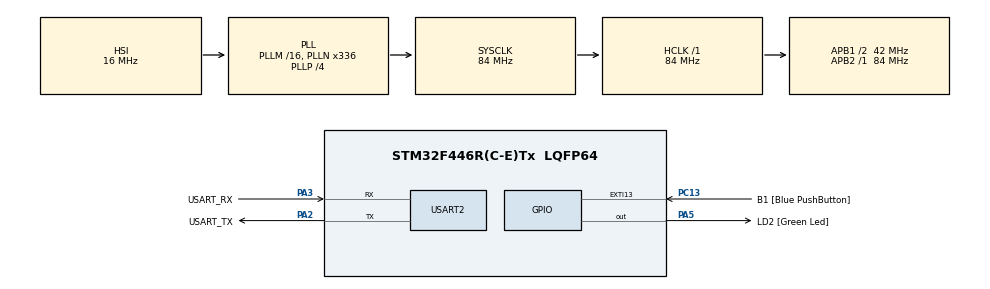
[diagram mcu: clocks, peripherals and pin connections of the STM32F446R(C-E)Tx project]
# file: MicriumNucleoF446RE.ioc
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Mcu.Family=STM32F4
Mcu.Name=STM32F446R(C-E)Tx
Mcu.Package=LQFP64
NVIC.PriorityGroup=NVIC_PRIORITYGROUP_0
PA13.GPIO_Label=TMS
PA13.Mode=Serial_Wire
PA13.Signal=SYS_JTMS-SWDIO
PA14.GPIO_Label=TCK
PA14.Mode=Serial_Wire
PA14.Signal=SYS_JTCK-SWCLK
PA2.GPIO_Label=USART_TX
PA2.Mode=Asynchronous
PA2.Signal=USART2_TX
PA3.GPIO_Label=USART_RX
PA3.Mode=Asynchronous
PA3.Signal=USART2_RX
PA5.GPIO_Label=LD2 [Green Led]
PA5.Signal=GPIO_Output
PB3.GPIO_Label=SWO
PB3.Signal=SYS_JTDO-SWO
PC13.GPIO_Label=B1 [Blue PushButton]
PC13.GPIO_ModeDefaultEXTI=GPIO_MODE_IT_FALLING
PC13.Signal=GPXTI13
PC14-OSC32_IN.Mode=LSE-External-Oscillator
PC14-OSC32_IN.Signal=RCC_OSC32_IN
PC15-OSC32_OUT.Mode=LSE-External-Oscillator
PC15-OSC32_OUT.Signal=RCC_OSC32_OUT
PH0-OSC_IN.Mode=HSE-External-Oscillator
PH0-OSC_IN.Signal=RCC_OSC_IN
PH1-OSC_OUT.Mode=HSE-External-Oscillator
PH1-OSC_OUT.Signal=RCC_OSC_OUT
ProjectManager.HeapSize=0x200
ProjectManager.StackSize=0x400
ProjectManager.TargetToolchain=STM32CubeIDE
RCC.48MHZClocksFreq_Value=84000000
RCC.AHBFreq_Value=84000000
RCC.APB1CLKDivider=RCC_HCLK_DIV2
RCC.APB1Freq_Value=42000000
RCC.APB1TimFreq_Value=84000000
RCC.APB2Freq_Value=84000000
RCC.APB2TimFreq_Value=84000000
RCC.CortexFreq_Value=84000000
RCC.FLatency-AdvancedSettings=FLASH_LATENCY_2
RCC.HCLKFreq_Value=84000000
RCC.HSE_VALUE=8000000
RCC.HSI_VALUE=16000000
RCC.PLLN=336
RCC.PLLP=RCC_PLLP_DIV4
RCC.SYSCLKFreq_VALUE=84000000
RCC.SYSCLKSource=RCC_SYSCLKSOURCE_PLLCLK
RCC.USBFreq_Value=168000000
RCC.VCOOutputFreq_Value=336000000
USART2.VirtualMode=VM_ASYNC
board=NUCLEO-F446RE

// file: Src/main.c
/* USER CODE BEGIN Header */
/**
  ******************************************************************************
  * @file           : main.c
  * @brief          : Main program body
  ******************************************************************************
  * @attention
  *
  * Copyright (c) 2023 STMicroelectronics.
  * All rights reserved.
  *
  * This software is licensed under terms that can be found in the LICENSE file
  * in the root directory of this software component.
  * If no LICENSE file comes with this software, it is provided AS-IS.
  *
  ******************************************************************************
  */
/* USER CODE END Header */
#include "main.h"
#include "usart.h"
#include "gpio.h"

/* USER CODE BEGIN Includes */
#include "../Lib/uC-OS3/os.h"
/* USER CODE END Includes */

/* USER CODE BEGIN PD */
#define TASK_PRIORITY 3
#define STACK_SIZE 128
/* USER CODE END PD */

void SystemClock_Config(void);

/* USER CODE BEGIN 0 */
static OS_TCB LedTaskTCB;
static CPU_STK LedTaskStk[STACK_SIZE];
/* USER CODE END 0 */

int main(void)
{

  /* MCU Configuration--------------------------------------------------------*/

  /* Reset of all peripherals, Initializes the Flash interface and the Systick. */
  HAL_Init();

  /* Configure the system clock */
  SystemClock_Config();

  /* Initialize all configured peripherals */
  MX_GPIO_Init();
  MX_USART2_UART_Init();
  /* USER CODE BEGIN 2 */
  OS_ERR os_err;
  OSInit(&os_err);
  // Check for error in initialization
  if (os_err != OS_ERR_NONE) {
      // Error handling
  }

  // Create the LED control task
  OSTaskCreate(&LedTaskTCB,                // Task Control Block
                "LED Control Task",         // Task name
                LedTask,                    // Task function
                NULL,                       // Pointer to the argument
                TASK_PRIORITY,              // Task priority
                LedTaskStk,                 // Task stack
                STACK_SIZE / 10,            // Watermark limit for stack
                STACK_SIZE,                 // Stack size
                0,                          // Queue size (for messages)
                0,                          // Time quanta (0 uses default)
                NULL,                       // Extension pointer
                OS_OPT_TASK_STK_CHK | OS_OPT_TASK_STK_CLR, // Options
                &os_err);                   // Pointer to error variable

  // Check for error in task creation
  if (os_err != OS_ERR_NONE) {
      // Error handling
  }

  // Start the OS scheduler
  OSStart(&os_err);
  // Should never return, check for error
  if (os_err != OS_ERR_NONE) {
      // Error handling
  }
  /* USER CODE END 2 */

  /* Infinite loop */
  //Not needed as Micrium handles the scheduling
}

void SystemClock_Config(void)
{
  RCC_OscInitTypeDef RCC_OscInitStruct = {0};
  RCC_ClkInitTypeDef RCC_ClkInitStruct = {0};

  /** Configure the main internal regulator output voltage
  */
  __HAL_RCC_PWR_CLK_ENABLE();
  __HAL_PWR_VOLTAGESCALING_CONFIG(PWR_REGULATOR_VOLTAGE_SCALE3);

  /** Initializes the RCC Oscillators according to the specified parameters
  * in the RCC_OscInitTypeDef structure.
  */
  RCC_OscInitStruct.OscillatorType = RCC_OSCILLATORTYPE_HSI;
  RCC_OscInitStruct.HSIState = RCC_HSI_ON;
  RCC_OscInitStruct.HSICalibrationValue = RCC_HSICALIBRATION_DEFAULT;
  RCC_OscInitStruct.PLL.PLLState = RCC_PLL_ON;
  RCC_OscInitStruct.PLL.PLLSource = RCC_PLLSOURCE_HSI;
  RCC_OscInitStruct.PLL.PLLM = 16;
  RCC_OscInitStruct.PLL.PLLN = 336;
  RCC_OscInitStruct.PLL.PLLP = RCC_PLLP_DIV4;
  RCC_OscInitStruct.PLL.PLLQ = 2;
  RCC_OscInitStruct.PLL.PLLR = 2;
  if (HAL_RCC_OscConfig(&RCC_OscInitStruct) != HAL_OK)
  {
    Error_Handler();
  }

  /** Initializes the CPU, AHB and APB buses clocks
  */
  RCC_ClkInitStruct.ClockType = RCC_CLOCKTYPE_HCLK|RCC_CLOCKTYPE_SYSCLK
                              |RCC_CLOCKTYPE_PCLK1|RCC_CLOCKTYPE_PCLK2;
  RCC_ClkInitStruct.SYSCLKSource = RCC_SYSCLKSOURCE_PLLCLK;
  RCC_ClkInitStruct.AHBCLKDivider = RCC_SYSCLK_DIV1;
  RCC_ClkInitStruct.APB1CLKDivider = RCC_HCLK_DIV2;
  RCC_ClkInitStruct.APB2CLKDivider = RCC_HCLK_DIV1;

  if (HAL_RCC_ClockConfig(&RCC_ClkInitStruct, FLASH_LATENCY_2) != HAL_OK)
  {
    Error_Handler();
  }
}

/* USER CODE BEGIN 4 */
void LedTask(void *p_arg) {
    OS_ERR os_err;
    while (1) {
      HAL_GPIO_TogglePin(LD2_GPIO_Port, LD2_Pin);
      OS_TICK now = OSTimeGet(&os_err);
      OSTimeDlyHMSM(0,0,4,0,OS_OPT_TIME_HMSM_NON_STRICT, &os_err);
      OS_TICK later = OSTimeGet(&os_err);
      HAL_GPIO_TogglePin(LD2_GPIO_Port, LD2_Pin);

      /*
      HAL_GPIO_TogglePin(LD2_GPIO_Port, LD2_Pin);
      OSTimeDly(500,OS_OPT_TIME_HMSM_NON_STRICT,&os_err);
      HAL_GPIO_TogglePin(LD2_GPIO_Port, LD2_Pin);

      //HAL_Delay(2000);
      if(HAL_GPIO_ReadPin(B1_GPIO_Port,B1_Pin) == 0){
        HAL_GPIO_TogglePin(LD2_GPIO_Port, LD2_Pin);
        OSTimeDly(100,OS_OPT_TIME_HMSM_NON_STRICT,&os_err);        //OSTimeDlyHMSM(0,0,0,900,OS_OPT_TIME_HMSM_NON_STRICT,&os_err);

      }
      // Delay the task for 500 milliseconds
      */
      // Check for delay error
      if (os_err != OS_ERR_NONE) {
      //HAL_GPIO_TogglePin(LD2_GPIO_Port, LD2_Pin);

      }
    }
}
/* USER CODE END 4 */

void Error_Handler(void)
{
  __disable_irq();
  while (1)
  {
  }
}
